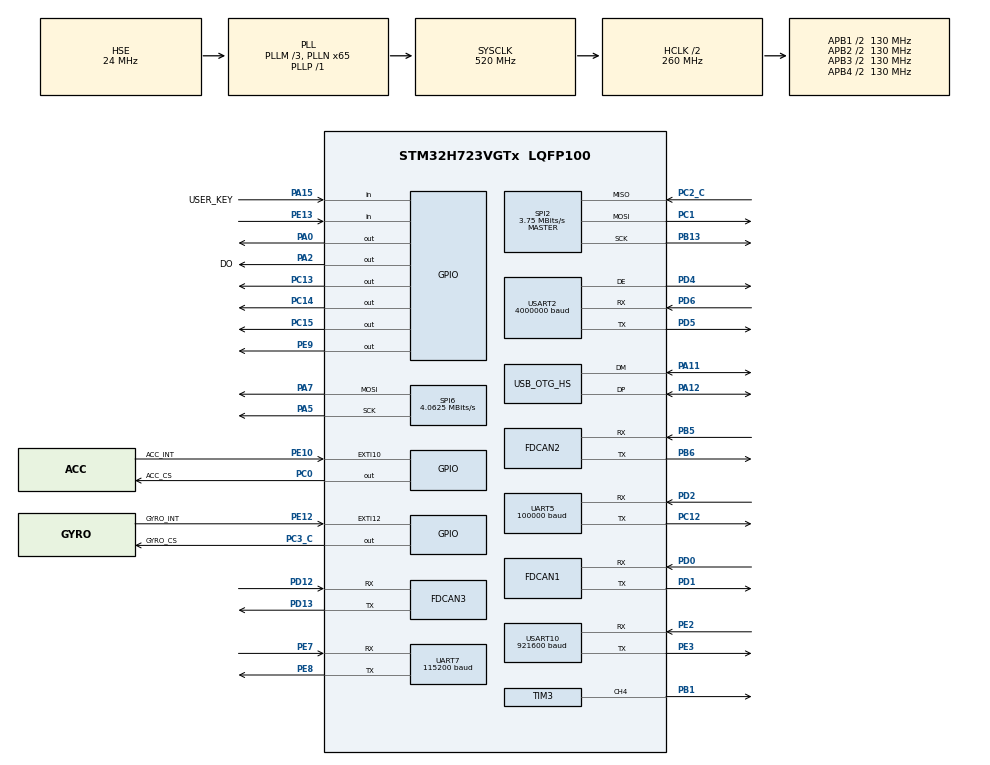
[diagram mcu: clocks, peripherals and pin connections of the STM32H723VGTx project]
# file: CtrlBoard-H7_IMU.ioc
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Dma.Request0=SPI2_RX
Dma.Request1=SPI2_TX
Dma.Request2=UART5_RX
Dma.Request3=USART2_RX
Dma.Request4=USART2_TX
Dma.Request5=USART10_RX
Dma.Request6=USART10_TX
Dma.Request7=UART5_TX
Dma.SPI2_RX.0.Direction=DMA_PERIPH_TO_MEMORY
Dma.SPI2_RX.0.EventEnable=DISABLE
Dma.SPI2_RX.0.FIFOMode=DMA_FIFOMODE_DISABLE
Dma.SPI2_RX.0.Instance=DMA1_Stream0
Dma.SPI2_RX.0.MemDataAlignment=DMA_MDATAALIGN_BYTE
Dma.SPI2_RX.0.MemInc=DMA_MINC_ENABLE
Dma.SPI2_RX.0.Mode=DMA_NORMAL
Dma.SPI2_RX.0.PeriphDataAlignment=DMA_PDATAALIGN_BYTE
Dma.SPI2_RX.0.PeriphInc=DMA_PINC_DISABLE
Dma.SPI2_RX.0.Polarity=HAL_DMAMUX_REQ_GEN_RISING
Dma.SPI2_RX.0.Priority=DMA_PRIORITY_VERY_HIGH
Dma.SPI2_RX.0.RequestNumber=1
Dma.SPI2_RX.0.SignalID=NONE
Dma.SPI2_RX.0.SyncEnable=DISABLE
Dma.SPI2_RX.0.SyncPolarity=HAL_DMAMUX_SYNC_NO_EVENT
Dma.SPI2_RX.0.SyncRequestNumber=1
Dma.SPI2_RX.0.SyncSignalID=NONE
Dma.SPI2_TX.1.Direction=DMA_MEMORY_TO_PERIPH
Dma.SPI2_TX.1.EventEnable=DISABLE
Dma.SPI2_TX.1.FIFOMode=DMA_FIFOMODE_DISABLE
Dma.SPI2_TX.1.Instance=DMA1_Stream1
Dma.SPI2_TX.1.MemDataAlignment=DMA_MDATAALIGN_BYTE
Dma.SPI2_TX.1.MemInc=DMA_MINC_ENABLE
Dma.SPI2_TX.1.Mode=DMA_NORMAL
Dma.SPI2_TX.1.PeriphDataAlignment=DMA_PDATAALIGN_BYTE
Dma.SPI2_TX.1.PeriphInc=DMA_PINC_DISABLE
Dma.SPI2_TX.1.Polarity=HAL_DMAMUX_REQ_GEN_RISING
Dma.SPI2_TX.1.Priority=DMA_PRIORITY_HIGH
Dma.SPI2_TX.1.RequestNumber=1
Dma.SPI2_TX.1.SignalID=NONE
Dma.SPI2_TX.1.SyncEnable=DISABLE
Dma.SPI2_TX.1.SyncPolarity=HAL_DMAMUX_SYNC_NO_EVENT
Dma.SPI2_TX.1.SyncRequestNumber=1
Dma.SPI2_TX.1.SyncSignalID=NONE
Dma.UART5_RX.2.Direction=DMA_PERIPH_TO_MEMORY
Dma.UART5_RX.2.EventEnable=DISABLE
Dma.UART5_RX.2.FIFOMode=DMA_FIFOMODE_DISABLE
Dma.UART5_RX.2.Instance=DMA1_Stream2
Dma.UART5_RX.2.MemDataAlignment=DMA_MDATAALIGN_BYTE
Dma.UART5_RX.2.MemInc=DMA_MINC_ENABLE
Dma.UART5_RX.2.Mode=DMA_CIRCULAR
Dma.UART5_RX.2.PeriphDataAlignment=DMA_PDATAALIGN_BYTE
Dma.UART5_RX.2.PeriphInc=DMA_PINC_DISABLE
Dma.UART5_RX.2.Polarity=HAL_DMAMUX_REQ_GEN_RISING
Dma.UART5_RX.2.Priority=DMA_PRIORITY_VERY_HIGH
Dma.UART5_RX.2.RequestNumber=1
Dma.UART5_RX.2.SignalID=NONE
Dma.UART5_RX.2.SyncEnable=DISABLE
Dma.UART5_RX.2.SyncPolarity=HAL_DMAMUX_SYNC_NO_EVENT
Dma.UART5_RX.2.SyncRequestNumber=1
Dma.UART5_RX.2.SyncSignalID=NONE
Dma.UART5_TX.7.Direction=DMA_MEMORY_TO_PERIPH
Dma.UART5_TX.7.EventEnable=DISABLE
Dma.UART5_TX.7.FIFOMode=DMA_FIFOMODE_DISABLE
Dma.UART5_TX.7.Instance=DMA1_Stream7
Dma.UART5_TX.7.MemDataAlignment=DMA_MDATAALIGN_BYTE
Dma.UART5_TX.7.MemInc=DMA_MINC_ENABLE
Dma.UART5_TX.7.Mode=DMA_NORMAL
Dma.UART5_TX.7.PeriphDataAlignment=DMA_PDATAALIGN_BYTE
Dma.UART5_TX.7.PeriphInc=DMA_PINC_DISABLE
Dma.UART5_TX.7.Polarity=HAL_DMAMUX_REQ_GEN_RISING
Dma.UART5_TX.7.Priority=DMA_PRIORITY_VERY_HIGH
Dma.UART5_TX.7.RequestNumber=1
Dma.UART5_TX.7.SignalID=NONE
Dma.UART5_TX.7.SyncEnable=DISABLE
Dma.UART5_TX.7.SyncPolarity=HAL_DMAMUX_SYNC_NO_EVENT
Dma.UART5_TX.7.SyncRequestNumber=1
Dma.UART5_TX.7.SyncSignalID=NONE
Dma.USART10_RX.5.Direction=DMA_PERIPH_TO_MEMORY
Dma.USART10_RX.5.EventEnable=DISABLE
Dma.USART10_RX.5.FIFOMode=DMA_FIFOMODE_DISABLE
Dma.USART10_RX.5.Instance=DMA1_Stream5
Dma.USART10_RX.5.MemDataAlignment=DMA_MDATAALIGN_BYTE
Dma.USART10_RX.5.MemInc=DMA_MINC_ENABLE
Dma.USART10_RX.5.Mode=DMA_CIRCULAR
Dma.USART10_RX.5.PeriphDataAlignment=DMA_PDATAALIGN_BYTE
Dma.USART10_RX.5.PeriphInc=DMA_PINC_DISABLE
Dma.USART10_RX.5.Polarity=HAL_DMAMUX_REQ_GEN_RISING
Dma.USART10_RX.5.Priority=DMA_PRIORITY_HIGH
Dma.USART10_RX.5.RequestNumber=1
Dma.USART10_RX.5.SignalID=NONE
Dma.USART10_RX.5.SyncEnable=DISABLE
Dma.USART10_RX.5.SyncPolarity=HAL_DMAMUX_SYNC_NO_EVENT
Dma.USART10_RX.5.SyncRequestNumber=1
Dma.USART10_RX.5.SyncSignalID=NONE
Dma.USART10_TX.6.Direction=DMA_MEMORY_TO_PERIPH
Dma.USART10_TX.6.EventEnable=DISABLE
Dma.USART10_TX.6.FIFOMode=DMA_FIFOMODE_DISABLE
Dma.USART10_TX.6.Instance=DMA1_Stream6
Dma.USART10_TX.6.MemDataAlignment=DMA_MDATAALIGN_BYTE
Dma.USART10_TX.6.MemInc=DMA_MINC_ENABLE
Dma.USART10_TX.6.Mode=DMA_NORMAL
Dma.USART10_TX.6.PeriphDataAlignment=DMA_PDATAALIGN_BYTE
Dma.USART10_TX.6.PeriphInc=DMA_PINC_DISABLE
Dma.USART10_TX.6.Polarity=HAL_DMAMUX_REQ_GEN_RISING
Dma.USART10_TX.6.Priority=DMA_PRIORITY_HIGH
Dma.USART10_TX.6.RequestNumber=1
Dma.USART10_TX.6.SignalID=NONE
Dma.USART10_TX.6.SyncEnable=DISABLE
Dma.USART10_TX.6.SyncPolarity=HAL_DMAMUX_SYNC_NO_EVENT
Dma.USART10_TX.6.SyncRequestNumber=1
Dma.USART10_TX.6.SyncSignalID=NONE
Dma.USART2_RX.3.Direction=DMA_PERIPH_TO_MEMORY
Dma.USART2_RX.3.EventEnable=DISABLE
Dma.USART2_RX.3.FIFOMode=DMA_FIFOMODE_DISABLE
Dma.USART2_RX.3.Instance=DMA1_Stream3
Dma.USART2_RX.3.MemDataAlignment=DMA_MDATAALIGN_BYTE
Dma.USART2_RX.3.MemInc=DMA_MINC_ENABLE
Dma.USART2_RX.3.Mode=DMA_CIRCULAR
Dma.USART2_RX.3.PeriphDataAlignment=DMA_PDATAALIGN_BYTE
Dma.USART2_RX.3.PeriphInc=DMA_PINC_DISABLE
Dma.USART2_RX.3.Polarity=HAL_DMAMUX_REQ_GEN_RISING
Dma.USART2_RX.3.Priority=DMA_PRIORITY_HIGH
Dma.USART2_RX.3.RequestNumber=1
Dma.USART2_RX.3.SignalID=NONE
Dma.USART2_RX.3.SyncEnable=DISABLE
Dma.USART2_RX.3.SyncPolarity=HAL_DMAMUX_SYNC_NO_EVENT
Dma.USART2_RX.3.SyncRequestNumber=1
Dma.USART2_RX.3.SyncSignalID=NONE
Dma.USART2_TX.4.Direction=DMA_MEMORY_TO_PERIPH
Dma.USART2_TX.4.EventEnable=DISABLE
Dma.USART2_TX.4.FIFOMode=DMA_FIFOMODE_DISABLE
Dma.USART2_TX.4.Instance=DMA1_Stream4
Dma.USART2_TX.4.MemDataAlignment=DMA_MDATAALIGN_BYTE
Dma.USART2_TX.4.MemInc=DMA_MINC_ENABLE
Dma.USART2_TX.4.Mode=DMA_NORMAL
Dma.USART2_TX.4.PeriphDataAlignment=DMA_PDATAALIGN_BYTE
Dma.USART2_TX.4.PeriphInc=DMA_PINC_DISABLE
Dma.USART2_TX.4.Polarity=HAL_DMAMUX_REQ_GEN_RISING
Dma.USART2_TX.4.Priority=DMA_PRIORITY_HIGH
Dma.USART2_TX.4.RequestNumber=1
Dma.USART2_TX.4.SignalID=NONE
Dma.USART2_TX.4.SyncEnable=DISABLE
Dma.USART2_TX.4.SyncPolarity=HAL_DMAMUX_SYNC_NO_EVENT
Dma.USART2_TX.4.SyncRequestNumber=1
Dma.USART2_TX.4.SyncSignalID=NONE
FDCAN1.CalculateBaudRateNominal=1000000
FDCAN1.CalculateTimeBitNominal=1000
FDCAN1.CalculateTimeQuantumNominal=25.0
FDCAN1.DataPrescaler=3
FDCAN1.DataSyncJumpWidth=10
FDCAN1.DataTimeSeg1=29
FDCAN1.DataTimeSeg2=10
FDCAN1.ExtFiltersNbr=5
FDCAN1.MessageRAMOffset=5
FDCAN1.NominalPrescaler=3
FDCAN1.NominalSyncJumpWidth=10
FDCAN1.NominalTimeSeg1=29
FDCAN1.NominalTimeSeg2=10
FDCAN1.ProtocolException=ENABLE
FDCAN1.RxFifo0ElmtSize=FDCAN_DATA_BYTES_8
FDCAN1.RxFifo0ElmtsNbr=8
FDCAN1.RxFifo1ElmtSize=FDCAN_DATA_BYTES_8
FDCAN1.StdFiltersNbr=5
FDCAN1.TxElmtSize=FDCAN_DATA_BYTES_8
FDCAN1.TxFifoQueueElmtsNbr=8
FDCAN2.CalculateBaudRateNominal=1000000
FDCAN2.CalculateTimeBitNominal=1000
FDCAN2.CalculateTimeQuantumNominal=25.0
FDCAN2.DataPrescaler=3
FDCAN2.DataSyncJumpWidth=10
FDCAN2.DataTimeSeg1=29
FDCAN2.DataTimeSeg2=10
FDCAN2.ExtFiltersNbr=5
FDCAN2.MessageRAMOffset=854
FDCAN2.NominalPrescaler=3
FDCAN2.NominalSyncJumpWidth=10
FDCAN2.NominalTimeSeg1=29
FDCAN2.NominalTimeSeg2=10
FDCAN2.ProtocolException=ENABLE
FDCAN2.RxFifo1ElmtSize=FDCAN_DATA_BYTES_8
FDCAN2.RxFifo1ElmtsNbr=8
FDCAN2.StdFiltersNbr=5
FDCAN2.TxElmtSize=FDCAN_DATA_BYTES_8
FDCAN2.TxFifoQueueElmtsNbr=8
FDCAN3.CalculateBaudRateNominal=1000000
FDCAN3.CalculateTimeBitNominal=1000
FDCAN3.CalculateTimeQuantumNominal=25.0
FDCAN3.DataPrescaler=3
FDCAN3.DataSyncJumpWidth=10
FDCAN3.DataTimeSeg1=29
FDCAN3.DataTimeSeg2=5
FDCAN3.ExtFiltersNbr=5
FDCAN3.MessageRAMOffset=1709
FDCAN3.NominalPrescaler=3
FDCAN3.NominalSyncJumpWidth=10
FDCAN3.NominalTimeSeg1=29
FDCAN3.NominalTimeSeg2=10
FDCAN3.ProtocolException=ENABLE
FDCAN3.RxFifo0ElmtSize=FDCAN_DATA_BYTES_8
FDCAN3.RxFifo0ElmtsNbr=4
FDCAN3.StdFiltersNbr=5
FDCAN3.TxElmtSize=FDCAN_DATA_BYTES_8
FDCAN3.TxFifoQueueElmtsNbr=8
FREERTOS.MEMORY_ALLOCATION=0
FREERTOS.Tasks01=serviceTask,8,256,StartServiceTask,Default,NULL,Dynamic,NULL,NULL;inputTask,48,512,StartInputTask,Default,NULL,Dynamic,NULL,NULL
FREERTOS.configENABLE_FPU=1
FREERTOS.configTOTAL_HEAP_SIZE=30720
Mcu.Family=STM32H7
Mcu.Name=STM32H723VGTx
Mcu.Package=LQFP100
NVIC.DMA1_Stream0_IRQn=true\:6\:0\:true\:false\:true\:true\:false\:true\:true
NVIC.DMA1_Stream1_IRQn=true\:6\:0\:true\:false\:true\:true\:false\:true\:true
NVIC.DMA1_Stream2_IRQn=true\:5\:0\:false\:false\:true\:true\:false\:true\:true
NVIC.DMA1_Stream3_IRQn=true\:5\:0\:false\:false\:true\:true\:false\:true\:true
NVIC.DMA1_Stream4_IRQn=true\:5\:0\:false\:false\:true\:true\:false\:true\:true
NVIC.DMA1_Stream5_IRQn=true\:5\:0\:false\:false\:true\:true\:false\:true\:true
NVIC.DMA1_Stream6_IRQn=true\:5\:0\:false\:false\:true\:true\:false\:true\:true
NVIC.DMA1_Stream7_IRQn=true\:5\:0\:false\:false\:true\:true\:false\:true\:true
NVIC.FDCAN1_IT0_IRQn=true\:6\:0\:true\:false\:true\:true\:true\:true\:true
NVIC.FDCAN2_IT0_IRQn=true\:5\:0\:true\:false\:true\:true\:true\:true\:true
NVIC.FDCAN3_IT0_IRQn=true\:5\:0\:false\:false\:true\:true\:true\:true\:true
NVIC.OTG_HS_IRQn=true\:5\:0\:false\:false\:true\:true\:false\:true\:true
NVIC.PriorityGroup=NVIC_PRIORITYGROUP_4
NVIC.SPI2_IRQn=true\:5\:0\:true\:false\:true\:true\:false\:true\:true
NVIC.TIM2_IRQn=true\:15\:0\:false\:false\:true\:false\:false\:true\:true
NVIC.TimeBase=TIM2_IRQn
NVIC.TimeBaseIP=TIM2
NVIC.UART5_IRQn=true\:5\:0\:false\:false\:true\:true\:true\:true\:true
NVIC.UART7_IRQn=true\:5\:0\:false\:false\:true\:true\:true\:true\:true
NVIC.USART10_IRQn=true\:5\:0\:false\:false\:true\:true\:true\:true\:true
NVIC.USART2_IRQn=true\:5\:0\:false\:false\:true\:true\:true\:true\:true
PA0.GPIO_ModeDefaultOutputPP=GPIO_MODE_OUTPUT_PP
PA0.GPIO_PuPd=GPIO_PULLUP
PA0.GPIO_Speed=GPIO_SPEED_FREQ_VERY_HIGH
PA0.Signal=GPIO_Output
PA11.Mode=Device_Only_FS
PA11.Signal=USB_OTG_HS_DM
PA12.Mode=Device_Only_FS
PA12.Signal=USB_OTG_HS_DP
PA13(JTMS/SWDIO).Mode=Serial_Wire
PA13(JTMS/SWDIO).Signal=DEBUG_JTMS-SWDIO
PA14(JTCK/SWCLK).Mode=Serial_Wire
PA14(JTCK/SWCLK).Signal=DEBUG_JTCK-SWCLK
PA15(JTDI).GPIO_Label=USER_KEY
PA15(JTDI).Signal=GPIO_Input
PA2.GPIO_Label=DO
PA2.GPIO_PuPd=GPIO_PULLUP
PA2.GPIO_Speed=GPIO_SPEED_FREQ_VERY_HIGH
PA2.PinState=GPIO_PIN_SET
PA2.Signal=GPIO_Output
PA5.Mode=TX_Only_Simplex_Unidirect_Master
PA5.Signal=SPI6_SCK
PA7.Mode=TX_Only_Simplex_Unidirect_Master
PA7.Signal=SPI6_MOSI
PB1.Signal=S_TIM3_CH4
PB13.GPIO_Speed=GPIO_SPEED_FREQ_VERY_HIGH
PB13.Mode=Full_Duplex_Master
PB13.Signal=SPI2_SCK
PB5.Mode=FDCAN_Activate
PB5.Signal=FDCAN2_RX
PB6.Mode=FDCAN_Activate
PB6.Signal=FDCAN2_TX
PC0.GPIO_Label=ACC_CS
PC0.GPIO_Speed=GPIO_SPEED_FREQ_VERY_HIGH
PC0.PinState=GPIO_PIN_SET
PC0.Signal=GPIO_Output
PC1.GPIO_Speed=GPIO_SPEED_FREQ_VERY_HIGH
PC1.Mode=Full_Duplex_Master
PC1.Signal=SPI2_MOSI
PC12.Mode=Asynchronous
PC12.Signal=UART5_TX
PC13.Signal=GPIO_Output
PC14-OSC32_IN.Signal=GPIO_Output
PC15-OSC32_OUT.PinState=GPIO_PIN_SET
PC15-OSC32_OUT.Signal=GPIO_Output
PC2_C.GPIO_Speed=GPIO_SPEED_FREQ_VERY_HIGH
PC2_C.Mode=Full_Duplex_Master
PC2_C.Signal=SPI2_MISO
PC3_C.GPIO_Label=GYRO_CS
PC3_C.GPIO_Speed=GPIO_SPEED_FREQ_VERY_HIGH
PC3_C.PinState=GPIO_PIN_SET
PC3_C.Signal=GPIO_Output
PD0.Mode=FDCAN_Activate
PD0.Signal=FDCAN1_RX
PD1.Mode=FDCAN_Activate
PD1.Signal=FDCAN1_TX
PD12.Mode=FDCAN_Activate
PD12.Signal=FDCAN3_RX
PD13.Mode=FDCAN_Activate
PD13.Signal=FDCAN3_TX
PD2.Mode=Asynchronous
PD2.Signal=UART5_RX
PD4.Mode=Hardware Flow Control (RS485)
PD4.Signal=USART2_DE
PD5.Mode=Asynchronous
PD5.Signal=USART2_TX
PD6.Mode=Asynchronous
PD6.Signal=USART2_RX
PE10.GPIO_Label=ACC_INT
PE10.Signal=GPXTI10
PE12.GPIO_Label=GYRO_INT
PE12.Signal=GPXTI12
PE13.GPIO_PuPd=GPIO_PULLUP
PE13.Signal=GPIO_Input
PE2.Mode=Asynchronous
PE2.Signal=USART10_RX
PE3.Mode=Asynchronous
PE3.Signal=USART10_TX
PE7.GPIO_PuPd=GPIO_PULLUP
PE7.Mode=Asynchronous
PE7.Signal=UART7_RX
PE8.Mode=Asynchronous
PE8.Signal=UART7_TX
PE9.GPIO_ModeDefaultOutputPP=GPIO_MODE_OUTPUT_PP
PE9.GPIO_PuPd=GPIO_PULLUP
PE9.GPIO_Speed=GPIO_SPEED_FREQ_VERY_HIGH
PE9.Signal=GPIO_Output
PH0-OSC_IN.Mode=HSE-External-Oscillator
PH0-OSC_IN.Signal=RCC_OSC_IN
PH1-OSC_OUT.Mode=HSE-External-Oscillator
PH1-OSC_OUT.Signal=RCC_OSC_OUT
ProjectManager.HeapSize=0x200
ProjectManager.StackSize=0x800
ProjectManager.TargetToolchain=MDK-ARM V5.27
RCC.ADCFreq_Value=120000000
RCC.APB1Freq_Value=130000000
RCC.APB2Freq_Value=130000000
RCC.APB3Freq_Value=130000000
RCC.APB4Freq_Value=130000000
RCC.CortexFreq_Value=520000000
RCC.D1PPRE=RCC_APB3_DIV2
RCC.D2PPRE1=RCC_APB1_DIV2
RCC.D2PPRE2=RCC_APB2_DIV2
RCC.D3PPRE=RCC_APB4_DIV2
RCC.DIVM1=3
RCC.DIVM2=4
RCC.DIVN1=65
RCC.DIVN2=40
RCC.DIVP1=1
RCC.DIVQ1=4
RCC.DIVR1=4
RCC.FDCANCLockSelection=RCC_FDCANCLKSOURCE_PLL2
RCC.HCLKFreq_Value=260000000
RCC.HPRE=RCC_HCLK_DIV2
RCC.HSE_VALUE=24000000
RCC.PLL2FRACN=0
RCC.PLL3FRACN=0
RCC.PLLFRACN=0
RCC.PLLSourceVirtual=RCC_PLLSOURCE_HSE
RCC.SPI123CLockSelection=RCC_SPI123CLKSOURCE_PLL2
RCC.SYSCLKFreq_VALUE=520000000
RCC.SYSCLKSource=RCC_SYSCLKSOURCE_PLLCLK
RCC.USART16CLockSelection=RCC_USART16910CLKSOURCE_PLL2
RCC.USART234578CLockSelection=RCC_USART234578CLKSOURCE_PLL2
RCC.USBCLockSelection=RCC_USBCLKSOURCE_HSI48
RCC.USBFreq_Value=48000000
SH.S_TIM3_CH4.0=TIM3_CH4,PWM Generation4 CH4
SPI2.BaudRatePrescaler=SPI_BAUDRATEPRESCALER_32
SPI2.CLKPhase=SPI_PHASE_2EDGE
SPI2.CLKPolarity=SPI_POLARITY_HIGH
SPI2.CalculateBaudRate=3.75 MBits/s
SPI2.DataSize=SPI_DATASIZE_8BIT
SPI2.Direction=SPI_DIRECTION_2LINES
SPI2.Mode=SPI_MODE_MASTER
SPI2.VirtualType=VM_MASTER
SPI6.BaudRatePrescaler=SPI_BAUDRATEPRESCALER_32
SPI6.CalculateBaudRate=4.0625 MBits/s
SPI6.DataSize=SPI_DATASIZE_8BIT
SPI6.Direction=SPI_DIRECTION_2LINES_TXONLY
SPI6.MasterKeepIOState=SPI_MASTER_KEEP_IO_STATE_ENABLE
SPI6.Mode=SPI_MODE_MASTER
SPI6.VirtualType=VM_MASTER
TIM3.AutoReloadPreload=TIM_AUTORELOAD_PRELOAD_ENABLE
TIM3.Channel-PWM\ Generation4\ CH4=TIM_CHANNEL_4
TIM3.Period=10000-1
TIM3.Prescaler=24-1
UART5.BaudRate=100000
UART5.FIFOMode=FIFOMODE_ENABLE
UART5.Mode=MODE_TX_RX
UART5.Parity=PARITY_EVEN
UART5.StopBits=UART_STOPBITS_1
UART5.WordLength=WORDLENGTH_9B
UART7.BaudRate=115200
UART7.Mode=MODE_TX_RX
USART10.BaudRate=921600
USART10.FIFOMode=FIFOMODE_DISABLE
USART10.VirtualMode=VM_ASYNC
USART2.BaudRate=4000000
USART2.OverSampling=UART_OVERSAMPLING_16
USART2.UART_DEAssertionTime=0
USART2.UART_DEDeassertionTime=0
USART2.VirtualMode-Asynchronous=VM_ASYNC
USART2.VirtualMode-Hardware\ Flow\ Control\ (RS485)=VM_ASYNC
USB_DEVICE.CLASS_NAME_HS=CDC
USB_DEVICE.VirtualMode=Cdc
USB_DEVICE.VirtualModeHS=Cdc_HS
USB_OTG_HS.VirtualMode-Device_Only_FS=Device_Only_FS
VP_FREERTOS_VS_CMSIS_V2.Mode=CMSIS_V2
VP_MEMORYMAP_VS_MEMORYMAP.Mode=CurAppReg
VP_SYS_VS_tim2.Mode=TIM2
VP_USB_DEVICE_VS_USB_DEVICE_CDC_HS.Mode=CDC_HS
board=custom

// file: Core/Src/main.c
/* USER CODE BEGIN Header */
/**
  ******************************************************************************
  * @file           : main.c
  * @brief          : Main program body
  ******************************************************************************
  * @attention
  *
  * Copyright (c) 2024 STMicroelectronics.
  * All rights reserved.
  *
  * This software is licensed under terms that can be found in the LICENSE file
  * in the root directory of this software component.
  * If no LICENSE file comes with this software, it is provided AS-IS.
  *
  ******************************************************************************
  */
/* USER CODE END Header */
#include "main.h"
#include "FreeRTOS.h"
#include "cmsis_os2.h"
#include "dma.h"
#include "fdcan.h"
#include "spi.h"
#include "tim.h"
#include "usart.h"
#include "usb_device.h"
#include "gpio.h"

/* USER CODE BEGIN Includes */
#include "bsp_dwt.h"
#include "bsp_can.h"
#include "bsp_uart.h"
/* USER CODE END Includes */

void SystemClock_Config(void);
void PeriphCommonClock_Config(void);
void MX_FREERTOS_Init(void);

int main(void)
{

  /* MCU Configuration--------------------------------------------------------*/

  /* Reset of all peripherals, Initializes the Flash interface and the Systick. */
  HAL_Init();

  /* USER CODE BEGIN Init */
//06 01 00 00 00 00 00 00 00 00 00 00 00 00 80 3F
  /* USER CODE END Init */

  /* Configure the system clock */
  SystemClock_Config();

  /* Configure the peripherals common clocks */
  PeriphCommonClock_Config();

  /* Initialize all configured peripherals */
  MX_GPIO_Init();
  MX_DMA_Init();
  MX_SPI2_Init();
  MX_FDCAN1_Init();
  MX_FDCAN2_Init();
  MX_TIM3_Init();
  MX_FDCAN3_Init();
  MX_UART5_Init();
  MX_USART2_UART_Init();
  MX_USART10_UART_Init();
  MX_UART7_Init();
  MX_SPI6_Init();
  /* USER CODE BEGIN 2 */
  if (!DWT_Init(SystemCoreClock))
  {
    Error_Handler();
  }
  BSP_USART_Init();
  Power_OUT1_ON;
  Power_OUT2_ON;

  /* 启动现有三路 CAN；电机反馈交给本工程的控制任务处理。 */
  FDCAN1_Config();
  FDCAN2_Config();
  FDCAN3_Config();

  /* USER CODE END 2 */

  /* Init scheduler */
  osKernelInitialize();  /* Call init function for freertos objects (in cmsis_os2.c) */
  MX_FREERTOS_Init();

  /* Start scheduler */
  osKernelStart();

  /* We should never get here as control is now taken by the scheduler */

  /* Infinite loop */
  while (1)
  {

  }
}

void SystemClock_Config(void)
{
  RCC_OscInitTypeDef RCC_OscInitStruct = {0};
  RCC_ClkInitTypeDef RCC_ClkInitStruct = {0};

  /** Supply configuration update enable
  */
  HAL_PWREx_ConfigSupply(PWR_LDO_SUPPLY);

  /** Configure the main internal regulator output voltage
  */
  __HAL_PWR_VOLTAGESCALING_CONFIG(PWR_REGULATOR_VOLTAGE_SCALE0);

  while(!__HAL_PWR_GET_FLAG(PWR_FLAG_VOSRDY)) {}

  /** Initializes the RCC Oscillators according to the specified parameters
  * in the RCC_OscInitTypeDef structure.
  */
  RCC_OscInitStruct.OscillatorType = RCC_OSCILLATORTYPE_HSI48|RCC_OSCILLATORTYPE_HSE;
  RCC_OscInitStruct.HSEState = RCC_HSE_ON;
  RCC_OscInitStruct.HSI48State = RCC_HSI48_ON;
  RCC_OscInitStruct.PLL.PLLState = RCC_PLL_ON;
  RCC_OscInitStruct.PLL.PLLSource = RCC_PLLSOURCE_HSE;
  RCC_OscInitStruct.PLL.PLLM = 3;
  RCC_OscInitStruct.PLL.PLLN = 65;
  RCC_OscInitStruct.PLL.PLLP = 1;
  RCC_OscInitStruct.PLL.PLLQ = 4;
  RCC_OscInitStruct.PLL.PLLR = 4;
  RCC_OscInitStruct.PLL.PLLRGE = RCC_PLL1VCIRANGE_3;
  RCC_OscInitStruct.PLL.PLLVCOSEL = RCC_PLL1VCOWIDE;
  RCC_OscInitStruct.PLL.PLLFRACN = 0;
  if (HAL_RCC_OscConfig(&RCC_OscInitStruct) != HAL_OK)
  {
    Error_Handler();
  }

  /** Initializes the CPU, AHB and APB buses clocks
  */
  RCC_ClkInitStruct.ClockType = RCC_CLOCKTYPE_HCLK|RCC_CLOCKTYPE_SYSCLK
                              |RCC_CLOCKTYPE_PCLK1|RCC_CLOCKTYPE_PCLK2
                              |RCC_CLOCKTYPE_D3PCLK1|RCC_CLOCKTYPE_D1PCLK1;
  RCC_ClkInitStruct.SYSCLKSource = RCC_SYSCLKSOURCE_PLLCLK;
  RCC_ClkInitStruct.SYSCLKDivider = RCC_SYSCLK_DIV1;
  RCC_ClkInitStruct.AHBCLKDivider = RCC_HCLK_DIV2;
  RCC_ClkInitStruct.APB3CLKDivider = RCC_APB3_DIV2;
  RCC_ClkInitStruct.APB1CLKDivider = RCC_APB1_DIV2;
  RCC_ClkInitStruct.APB2CLKDivider = RCC_APB2_DIV2;
  RCC_ClkInitStruct.APB4CLKDivider = RCC_APB4_DIV2;

  if (HAL_RCC_ClockConfig(&RCC_ClkInitStruct, FLASH_LATENCY_3) != HAL_OK)
  {
    Error_Handler();
  }
}

void PeriphCommonClock_Config(void)
{
  RCC_PeriphCLKInitTypeDef PeriphClkInitStruct = {0};

  /** Initializes the peripherals clock
  */
  PeriphClkInitStruct.PeriphClockSelection = RCC_PERIPHCLK_SPI2|RCC_PERIPHCLK_UART5
                              |RCC_PERIPHCLK_FDCAN|RCC_PERIPHCLK_USART10
                              |RCC_PERIPHCLK_UART7|RCC_PERIPHCLK_USART2;
  PeriphClkInitStruct.PLL2.PLL2M = 4;
  PeriphClkInitStruct.PLL2.PLL2N = 40;
  PeriphClkInitStruct.PLL2.PLL2P = 2;
  PeriphClkInitStruct.PLL2.PLL2Q = 2;
  PeriphClkInitStruct.PLL2.PLL2R = 2;
  PeriphClkInitStruct.PLL2.PLL2RGE = RCC_PLL2VCIRANGE_2;
  PeriphClkInitStruct.PLL2.PLL2VCOSEL = RCC_PLL2VCOWIDE;
  PeriphClkInitStruct.PLL2.PLL2FRACN = 0;
  PeriphClkInitStruct.Spi123ClockSelection = RCC_SPI123CLKSOURCE_PLL2;
  PeriphClkInitStruct.FdcanClockSelection = RCC_FDCANCLKSOURCE_PLL2;
  PeriphClkInitStruct.Usart234578ClockSelection = RCC_USART234578CLKSOURCE_PLL2;
  PeriphClkInitStruct.Usart16ClockSelection = RCC_USART16910CLKSOURCE_PLL2;
  if (HAL_RCCEx_PeriphCLKConfig(&PeriphClkInitStruct) != HAL_OK)
  {
    Error_Handler();
  }
}

void HAL_TIM_PeriodElapsedCallback(TIM_HandleTypeDef *htim)
{
  /* USER CODE BEGIN Callback 0 */
  if (htim->Instance == TIM2)
  {
    /* 1 ms 周期维护 DWT 的 64 位软件扩展，避免遗漏 CYCCNT 回绕。 */
    DWT_Update();
  }
  /* USER CODE END Callback 0 */
  if (htim->Instance == TIM2)
  {
    HAL_IncTick();
  }
}

void Error_Handler(void)
{
  __disable_irq();
  while (1)
  {
  }
}

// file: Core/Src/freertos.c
/* USER CODE BEGIN Header */
/**
  ******************************************************************************
  * File Name          : freertos.c
  * Description        : Code for freertos applications
  ******************************************************************************
  * @attention
  *
  * Copyright (c) 2026 STMicroelectronics.
  * All rights reserved.
  *
  * This software is licensed under terms that can be found in the LICENSE file
  * in the root directory of this software component.
  * If no LICENSE file comes with this software, it is provided AS-IS.
  *
  ******************************************************************************
  */
/* USER CODE END Header */

#include "FreeRTOS.h"
#include "task.h"
#include "main.h"
#include "FreeRTOS.h"
#include "cmsis_os2.h"

/* USER CODE BEGIN Includes */
#include "arm_task.h"
#include "input_task.h"
#include "service_task.h"
/* USER CODE END Includes */

/* USER CODE BEGIN Variables */
/* 本工程控制任务由用户代码持有，CubeMX 仅生成公共任务，重生成时保留本区域。 */
/* Definitions for armTask */
osThreadId_t armTaskHandle;
const osThreadAttr_t armTask_attributes = {
  .name = "armTask",
  .stack_size = 512 * 4,
  .priority = (osPriority_t) osPriorityHigh,
};
/* USER CODE END Variables */
/* Definitions for serviceTask */
osThreadId_t serviceTaskHandle;
const osThreadAttr_t serviceTask_attributes = {
  .name = "serviceTask",
  .stack_size = 256 * 4,
  .priority = (osPriority_t) osPriorityLow,
};
/* Definitions for inputTask */
osThreadId_t inputTaskHandle;
const osThreadAttr_t inputTask_attributes = {
  .name = "inputTask",
  .stack_size = 512 * 4,
  .priority = (osPriority_t) osPriorityRealtime,
};

/* USER CODE BEGIN FunctionPrototypes */
void StartArmTask(void *argument);
/* USER CODE END FunctionPrototypes */

void StartServiceTask(void *argument);
void StartInputTask(void *argument);

extern void MX_USB_DEVICE_Init(void);
void MX_FREERTOS_Init(void); /* (MISRA C 2004 rule 8.1) */

void MX_FREERTOS_Init(void) {

  /* Create the thread(s) */
  /* creation of serviceTask */
  serviceTaskHandle = osThreadNew(StartServiceTask, NULL, &serviceTask_attributes);

  /* creation of inputTask */
  inputTaskHandle = osThreadNew(StartInputTask, NULL, &inputTask_attributes);

  /* USER CODE BEGIN RTOS_THREADS */
  /* 本工程直接创建固定控制任务；声明、属性和入口均位于 CubeMX 保留区域。 */
  armTaskHandle = osThreadNew(StartArmTask, NULL, &armTask_attributes);
  /* USER CODE END RTOS_THREADS */

}

void StartServiceTask(void *argument)
{
  /* init code for USB_DEVICE */
  MX_USB_DEVICE_Init();
  /* USER CODE BEGIN StartServiceTask */
  (void)argument;
  ServiceTask_Run();
  osThreadExit();
  /* USER CODE END StartServiceTask */
}

void StartInputTask(void *argument)
{
  /* USER CODE BEGIN StartInputTask */
  (void)argument;
  InputTask_Run();
  osThreadExit();
  /* USER CODE END StartInputTask */
}

/* USER CODE BEGIN Application */
/**
 * @brief 机械臂板控制任务入口；本函数整体位于 CubeMX 保留区域。
 * @param argument 未使用；运行入口返回时结束本线程。
 */
void StartArmTask(void *argument)
{
  (void)argument;
  ArmTask_Run();
  osThreadExit();
}
/* USER CODE END Application */
